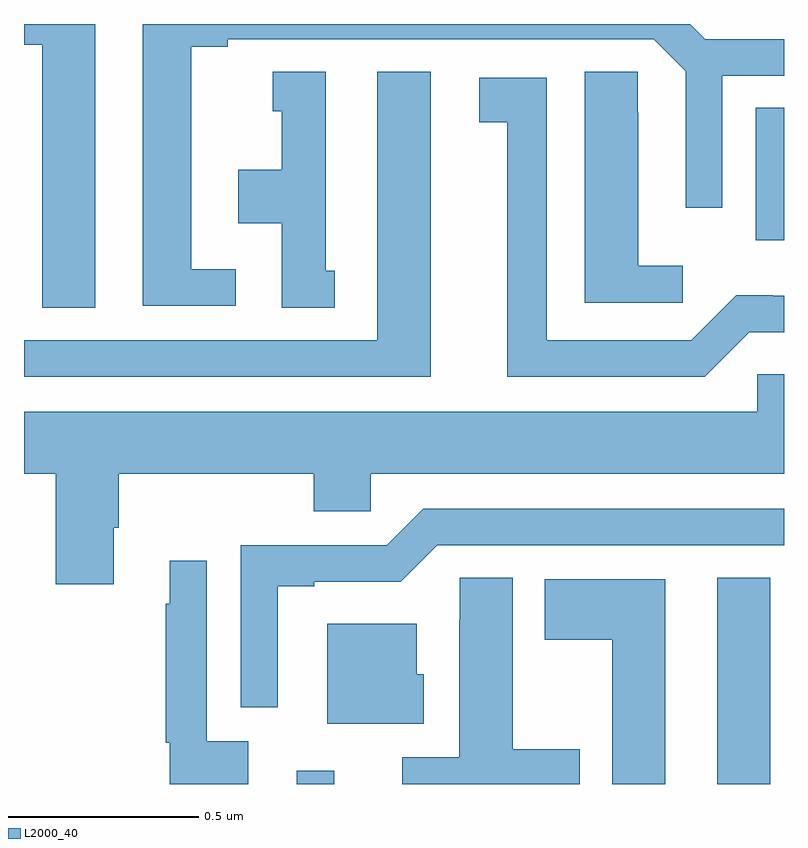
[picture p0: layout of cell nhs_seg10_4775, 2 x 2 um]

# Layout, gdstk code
import gdstk
lib = gdstk.Library(unit=1e-6, precision=1e-09)
def R(c, l, rs):  # rectangles x0, y0, x1, y1
    for r in rs: c.add(gdstk.rectangle(r[:2], r[2:], *l))
def P(c, l, *ps):  # polygons
    for p in ps: c.add(gdstk.Polygon(p, *l))
L2000_40 = (2000, 40)

nhs_seg10_4775 = lib.new_cell('nhs_seg10_4775')
R(nhs_seg10_4775, L2000_40, [(170.718,1299.5,170.816,1299.535), (171.824,1299.5,171.964,1300.043), (171.926,1300.931,172,1301.279)])
P(nhs_seg10_4775, L2000_40, [(170.188,1301.5),(170,1301.5),(170,1301.445),(170.048,1301.445),(170.048,1300.753),(170.188,1300.753)],
  [(170.557,1300.854),(170.44,1300.854),(170.44,1301.44),(170.536,1301.44),(170.536,1301.46),(171.657,1301.46),(171.741,1301.376),(171.741,1301.016),(171.837,1301.016),(171.837,1301.364),(172,1301.364),(172,1301.46),(171.793,1301.46),(171.753,1301.5),(170.312,1301.5),(170.312,1300.758),(170.557,1300.758)],
  [(171.733,1300.864),(171.616,1300.864),(171.616,1301.267),(171.615,1301.267),(171.615,1301.375),(171.476,1301.375),(171.476,1300.767),(171.733,1300.767)],
  [(171.07,1301.374),(170.93,1301.374),(170.93,1300.668),(170,1300.668),(170,1300.572),(171.07,1300.572)],
  [(170.818,1300.851),(170.794,1300.851),(170.794,1301.374),(170.654,1301.374),(170.654,1301.271),(170.678,1301.271),(170.678,1301.116),(170.564,1301.116),(170.564,1300.976),(170.678,1300.976),(170.678,1300.753),(170.818,1300.753)],
  [(171.909,1300.689),(172,1300.689),(172,1300.785),(171.97,1300.785),(171.97,1300.786),(171.874,1300.786),(171.756,1300.668),(171.376,1300.668),(171.376,1301.358),(171.198,1301.358),(171.198,1301.242),(171.272,1301.242),(171.272,1300.572),(171.792,1300.572)],
  [(170.236,1300.174),(170.249,1300.174),(170.249,1300.316),(170.762,1300.316),(170.762,1300.218),(170.913,1300.218),(170.913,1300.316),(172,1300.316),(172,1300.578),(171.93,1300.578),(171.93,1300.48),(170,1300.48),(170,1300.316),(170.084,1300.316),(170.084,1300.026),(170.236,1300.026)],
  [(170.668,1300.02),(170.764,1300.02),(170.764,1300.032),(170.991,1300.032),(171.087,1300.128),(172,1300.128),(172,1300.224),(171.051,1300.224),(170.955,1300.128),(170.571,1300.128),(170.571,1299.702),(170.668,1299.702)],
  [(170.59,1299.613),(170.481,1299.613),(170.481,1300.087),(170.384,1300.087),(170.384,1299.974),(170.373,1299.974),(170.373,1299.609),(170.384,1299.609),(170.384,1299.5),(170.59,1299.5)],
  [(171.463,1299.591),(171.286,1299.591),(171.286,1300.043),(171.147,1300.043),(171.147,1299.932),(171.146,1299.932),(171.146,1299.57),(170.996,1299.57),(170.996,1299.5),(171.463,1299.5)],
  [(171.687,1299.529),(171.688,1299.529),(171.688,1300.039),(171.371,1300.039),(171.371,1299.88),(171.548,1299.88),(171.548,1299.5),(171.687,1299.5)],
  [(171.052,1299.789),(171.034,1299.789),(171.034,1299.922),(170.798,1299.922),(170.798,1299.659),(171.052,1299.659)])

lib.write_gds('nhs_seg10_4775.gds')
